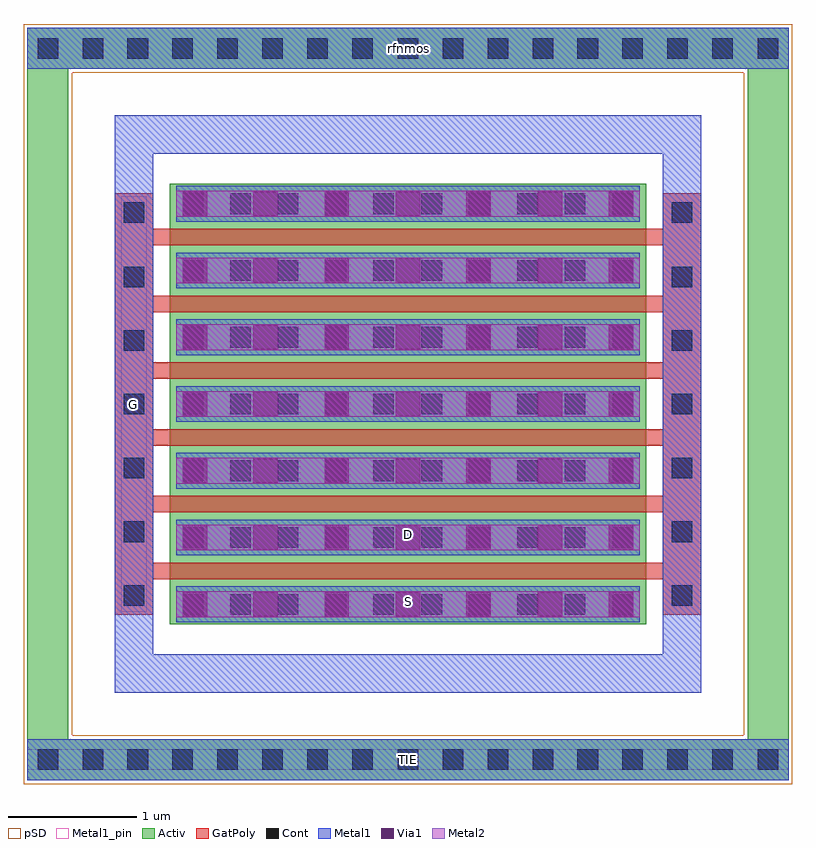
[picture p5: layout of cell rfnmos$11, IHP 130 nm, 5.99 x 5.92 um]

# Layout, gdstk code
import gdstk
lib = gdstk.Library(unit=1e-6, precision=1e-09)
def R(c, l, rs):  # rectangles x0, y0, x1, y1
    for r in rs: c.add(gdstk.rectangle(r[:2], r[2:], *l))
def A(c, l, x, y, w, h, nx, ny, dx, dy):  # array of equal rectangles
    R(c, l, [(x+i*dx, y+j*dy, x+i*dx+w, y+j*dy+h) for i in range(nx) for j in range(ny)])
def P(c, l, *ps):  # polygons
    for p in ps: c.add(gdstk.Polygon(p, *l))
Activ = (1, 0)
GatPoly = (5, 0)
Cont = (6, 0)
Metal1 = (8, 0)
Metal1_pin = (8, 2)
Metal2 = (10, 0)
pSD = (14, 0)
Via1 = (19, 0)

rfnmos_11 = lib.new_cell('rfnmos$11')
R(rfnmos_11, Activ, [(1.14,1.245,4.85,4.675)])
P(rfnmos_11, Activ, [(0.03,0.03),(0.03,5.57),(0.35,5.57),(0.35,0.35),(5.64,0.35),(5.64,5.57),(0.03,5.57),(0.03,5.89),(5.96,5.89),(5.96,0.03)])
A(rfnmos_11, GatPoly, 1.01, 1.595, 3.97, 0.13, 1, 6, 0, 0.52)
R(rfnmos_11, GatPoly, [(0.71,1.32,1.01,4.6), (4.98,1.32,5.28,4.6)])
A(rfnmos_11, Cont, 0.11, 0.11, 0.16, 0.16, 8, 2, 0.35, 5.54)
A(rfnmos_11, Cont, 2.915, 0.11, 0.16, 0.16, 8, 2, 0.35, 5.54)
A(rfnmos_11, Cont, 1.24, 1.32, 0.16, 0.16, 3, 7, 0.37, 0.52)
A(rfnmos_11, Cont, 2.355, 1.32, 0.16, 0.16, 1, 7, 0, 0.52)
A(rfnmos_11, Cont, 2.725, 1.32, 0.16, 0.16, 1, 7, 0, 0.52)
A(rfnmos_11, Cont, 3.1, 1.32, 0.16, 0.16, 1, 7, 0, 0.52)
A(rfnmos_11, Cont, 3.47, 1.32, 0.16, 0.16, 1, 7, 0, 0.52)
A(rfnmos_11, Cont, 3.845, 1.32, 0.16, 0.16, 1, 7, 0, 0.52)
A(rfnmos_11, Cont, 4.215, 1.32, 0.16, 0.16, 1, 7, 0, 0.52)
A(rfnmos_11, Cont, 4.59, 1.32, 0.16, 0.16, 1, 7, 0, 0.52)
A(rfnmos_11, Cont, 0.78, 1.39, 0.16, 0.16, 1, 3, 0, 0.495)
A(rfnmos_11, Cont, 5.05, 1.39, 0.16, 0.16, 1, 3, 0, 0.495)
A(rfnmos_11, Cont, 0.78, 2.88, 0.16, 0.16, 1, 3, 0, 0.495)
A(rfnmos_11, Cont, 5.05, 2.88, 0.16, 0.16, 1, 3, 0, 0.495)
R(rfnmos_11, Cont, [(5.72,0.11,5.88,0.27), (0.78,4.37,0.94,4.53), (5.05,4.37,5.21,4.53), (5.72,5.65,5.88,5.81)])
A(rfnmos_11, Metal1, 1.19, 1.26, 3.61, 0.28, 1, 7, 0, 0.52)
R(rfnmos_11, Metal1, [(0.03,0.03,5.96,0.35), (0.76,1.34,0.96,4.58), (5.03,1.34,5.23,4.58), (0.03,5.57,5.96,5.89)])
P(rfnmos_11, Metal1, [(0.71,0.71),(0.71,4.91),(1.01,4.91),(1.01,1.01),(4.98,1.01),(4.98,4.91),(0.71,4.91),(0.71,5.21),(5.28,5.21),(5.28,0.71)])
R(rfnmos_11, Metal1_pin, [(0.03,0.11,5.96,0.27), (0.03,0.11,5.96,0.27), (1.19,1.26,4.8,1.54), (1.19,1.26,4.8,1.54), (0.76,1.34,0.96,4.58), (0.76,1.34,0.96,4.58), (1.19,1.78,4.8,2.06), (1.19,1.78,4.8,2.06)])
A(rfnmos_11, Metal2, 1.19, 1.3, 3.61, 0.2, 1, 7, 0, 0.52)
P(rfnmos_11, pSD, [(0,0),(0,5.54),(0.38,5.54),(0.38,0.38),(5.61,0.38),(5.61,5.54),(0,5.54),(0,5.92),(5.99,5.92),(5.99,0)])
A(rfnmos_11, Via1, 1.24, 1.305, 0.19, 0.19, 1, 7, 0, 0.52)
A(rfnmos_11, Via1, 1.79, 1.305, 0.19, 0.19, 3, 7, 0.555, 0.52)
A(rfnmos_11, Via1, 3.45, 1.305, 0.19, 0.19, 3, 7, 0.555, 0.52)
rfnmos_11.add(gdstk.Label('S', (2.995,1.42), layer=63, texttype=0))
rfnmos_11.add(gdstk.Label('D', (2.995,1.94), layer=63, texttype=0))
rfnmos_11.add(gdstk.Label('G', (0.86,2.96), layer=63, texttype=0))
rfnmos_11.add(gdstk.Label('TIE', (2.995,0.19), layer=63, texttype=0))
rfnmos_11.add(gdstk.Label('rfnmos', (2.995,5.73), layer=63, texttype=0))

lib.write_gds('rfnmos_11.gds')
